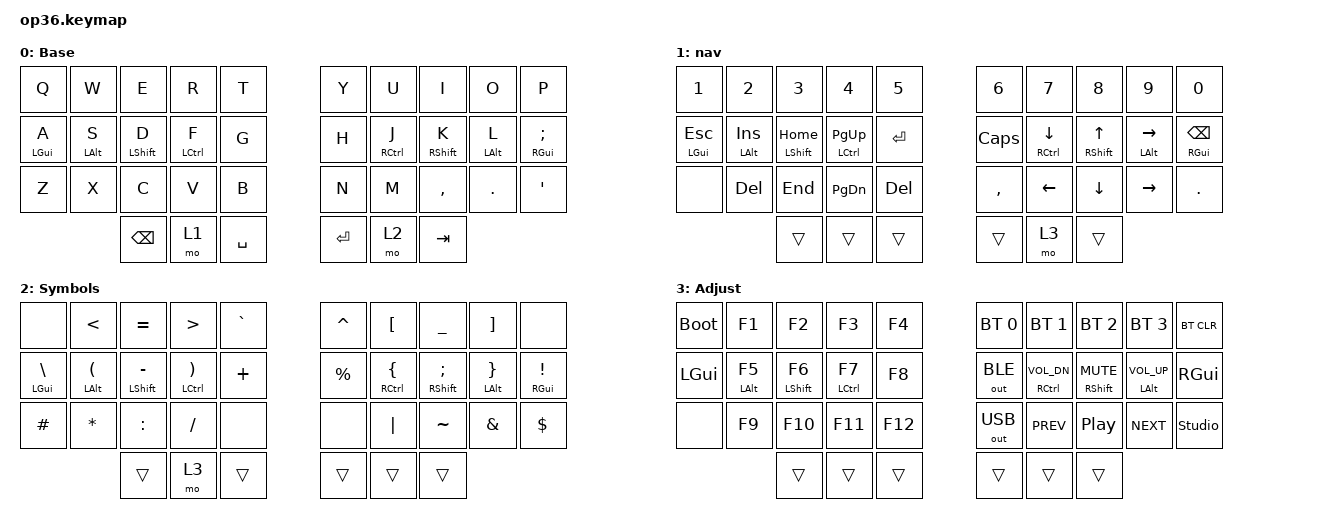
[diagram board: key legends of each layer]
#include "keys_ru.h"
#include <behaviors.dtsi>
#include <dt-bindings/zmk/bt.h>
#include <dt-bindings/zmk/keys.h>
#include <dt-bindings/zmk/outputs.h>

&mt {
    quick-tap-ms = <200>;
    flavor = "tap-preferred";
    require-prior-idle-ms = <125>;
};

/ {
    behaviors {
        hml: home_row_mod_left {
            compatible = "zmk,behavior-hold-tap";
            #binding-cells = <2>;
            flavor = "balanced";
            require-prior-idle-ms = <150>;
            tapping-term-ms = <280>;
            quick-tap-ms = <175>;
            bindings = <&kp>, <&kp>;

            hold-trigger-key-positions = <5 6 7 8 9 15 16 17 18 19 25 26 27 28 29 33 34 35>;
            hold-trigger-on-release;
        };

        hmr: home_row_mod_right {
            compatible = "zmk,behavior-hold-tap";
            #binding-cells = <2>;
            flavor = "balanced";
            require-prior-idle-ms = <150>;
            tapping-term-ms = <280>;
            quick-tap-ms = <175>;
            bindings = <&kp>, <&kp>;

            hold-trigger-key-positions = <0 1 2 3 4 10 11 12 13 14 20 21 22 23 24 30 31 32>;
            hold-trigger-on-release;
        };
    };

    combos {
        compatible = "zmk,combos";

        kha {
            bindings = <&kp LBKT>;
            key-positions = <6 7>;
        };

        hrdsgn {
            bindings = <&kp RBKT>;
            key-positions = <7 8>;
        };

        ysy_combo {
            bindings = <&ysy_macro>;
            key-positions = <0 1>;
        };

        gpbu_combo {
            bindings = <&gpbu_macro>;
            key-positions = <10 11>;
        };

        tech_combo {
            bindings = <&tech_macro>;
            key-positions = <20 21>;
        };
    };

    macros {
        ysy_macro: ysy {
            compatible = "zmk,behavior-macro";
            #binding-cells = <0>;
            bindings =
                <&kp P>,
                <&macro_wait_time 5>,
                <&kp LS(U)>,
                <&macro_wait_time 10>,
                <&kp N7>,
                <&macro_wait_time 10>,
                <&kp N6>,
                <&macro_wait_time 10>,
                <&kp LS(F)>,
                <&macro_wait_time 10>,
                <&kp SQT>,
                <&macro_wait_time 10>,
                <&kp LS(N)>,
                <&macro_wait_time 10>,
                <&kp I>,
                <&macro_wait_time 10>,
                <&kp LS(R)>,
                <&macro_wait_time 10>,
                <&kp D>,
                <&macro_wait_time 10>,
                <&kp N6>,
                <&macro_wait_time 10>,
                <&kp L>,
                <&macro_wait_time 10>,
                <&kp CARET>,
                <&macro_wait_time 10>,
                <&kp PIPE>,
                <&macro_wait_time 10>,
                <&kp HASH>,
                <&macro_wait_time 10>,
                <&kp H>,
                <&macro_press>;

            label = "YSY";
        };

        gpbu_macro: gpbu_macro {
            compatible = "zmk,behavior-macro";
            #binding-cells = <0>;
            bindings =
                <&kp LS(G)>,
                <&macro_wait_time 10>,
                <&kp I>,
                <&macro_wait_time 10>,
                <&kp LS(C)>,
                <&macro_wait_time 10>,
                <&kp X>,
                <&macro_wait_time 10>,
                <&kp FSLH>,
                <&macro_wait_time 10>,
                <&kp NUMBER_4>,
                <&macro_wait_time 10>,
                <&kp R>,
                <&macro_wait_time 10>,
                <&kp LS(S)>,
                <&macro_wait_time 10>,
                <&kp COLON>,
                <&macro_wait_time 10>,
                <&kp S>,
                <&macro_wait_time 10>,
                <&kp SEMI>,
                <&macro_wait_time 10>,
                <&kp J>,
                <&macro_wait_time 10>,
                <&kp LS(G)>,
                <&macro_wait_time 10>,
                <&kp EXCLAMATION>,
                <&macro_wait_time 10>,
                <&kp LS(K)>,
                <&macro_wait_time 10>,
                <&kp LS(V)>,
                <&macro_press>;

            label = "GPBU_MACRO";
        };

        tech_macro: tech_macro {
            compatible = "zmk,behavior-macro";
            #binding-cells = <0>;
            bindings =
                <&kp LS(C)>,
                <&macro_wait_time 10>,
                <&kp AT_SIGN>,
                <&macro_wait_time 10>,
                <&kp P>,
                <&macro_wait_time 10>,
                <&kp LS(P)>,
                <&macro_wait_time 10>,
                <&kp A>,
                <&macro_wait_time 10>,
                <&kp LS(Z)>,
                <&macro_wait_time 10>,
                <&kp A>,
                <&macro_wait_time 10>,
                <&kp C>,
                <&macro_wait_time 10>,
                <&kp K>,
                <&macro_wait_time 10>,
                <&kp AT_SIGN>,
                <&macro_wait_time 10>,
                <&kp EXCLAMATION>,
                <&macro_wait_time 10>,
                <&kp M>,
                <&macro_wait_time 10>,
                <&kp LS(B)>,
                <&macro_wait_time 10>,
                <&kp L>,
                <&macro_wait_time 10>,
                <&kp D>,
                <&macro_wait_time 10>,
                <&kp N0>,
                <&macro_wait_time 10>,
                <&kp LS(N)>;

            label = "TECH_MACRO";
        };
    };

    keymap {
        compatible = "zmk,keymap";

        base {
            bindings = <
  &kp Q        &kp W        &kp E         &kp R          &kp T                          &kp Y  &kp U         &kp I         &kp O        &kp P
  &hml LGUI A  &hml LALT S  &hml LSHFT D  &hml LCTRL F   &kp G                          &kp H  &hmr RCTRL J  &hmr RSHFT K  &hmr LALT L  &hmr RGUI SEMICOLON
  &kp Z        &kp X        &kp C         &kp V          &kp B                          &kp N  &kp M         &kp COMMA     &kp DOT      &kp SQT
                                          &kp BACKSPACE  &mo 1  &kp SPACE    &kp ENTER  &mo 2  &kp TAB
            >;

            display-name = "Base";
        };

        nav {
            bindings = <
  &kp N1         &kp N2         &kp N3           &kp N4            &kp N5                        &kp N6     &kp N7           &kp N8          &kp N9           &kp N0
  &hml LGUI ESC  &hml LALT INS  &hml LSHFT HOME  &hml LCTRL PG_UP  &kp ENTER                     &kp CAPS   &hmr RCTRL DOWN  &hmr RSHFT UP   &hmr LALT RIGHT  &hmr RGUI BACKSPACE
  &none          &kp DEL        &kp END          &kp PAGE_DOWN     &kp DELETE                    &kp COMMA  &kp LEFT_ARROW   &kp DOWN_ARROW  &kp RIGHT_ARROW  &kp DOT
                                                 &trans            &trans      &trans    &trans  &mo 3      &trans
            >;
        };

        sym {
            bindings = <
  &none           &kp LT          &kp EQUAL         &kp GT           &kp GRAVE                    &kp CARET  &kp LBKT         &kp UNDER        &kp RBKT        &none
  &hml LGUI BSLH  &hml LALT LPAR  &hml LSHFT MINUS  &hml LCTRL RPAR  &kp PLUS                     &kp PRCNT  &hmr RCTRL LBRC  &hmr RSHFT SEMI  &hmr LALT RBRC  &hmr RGUI EXCL
  &kp HASH        &kp STAR        &kp COLON         &kp FSLH         &none                        &none      &kp PIPE         &kp TILDE        &kp AMPS        &kp DLLR
                                                    &trans           &mo 3      &trans    &trans  &trans     &trans
            >;

            display-name = "Symbols";
        };

        adj {
            bindings = <
  &bootloader  &kp F1        &kp F2         &kp F3         &kp F4                     &bt BT_SEL 0  &bt BT_SEL 1         &bt BT_SEL 2       &bt BT_SEL 3        &bt BT_CLR
  &kp LGUI     &hml LALT F5  &hml LSHFT F6  &hml LCTRL F7  &kp F8                     &out OUT_BLE  &hmr RCTRL C_VOL_DN  &hmr RSHFT C_MUTE  &hmr LALT C_VOL_UP  &kp RGUI
  &none        &kp F9        &kp F10        &kp F11        &kp F12                    &out OUT_USB  &kp C_PREV           &kp C_PP           &kp C_NEXT          &studio_unlock
                                            &trans         &trans   &trans    &trans  &trans        &trans
            >;

            display-name = "Adjust";
        };
    };
};
